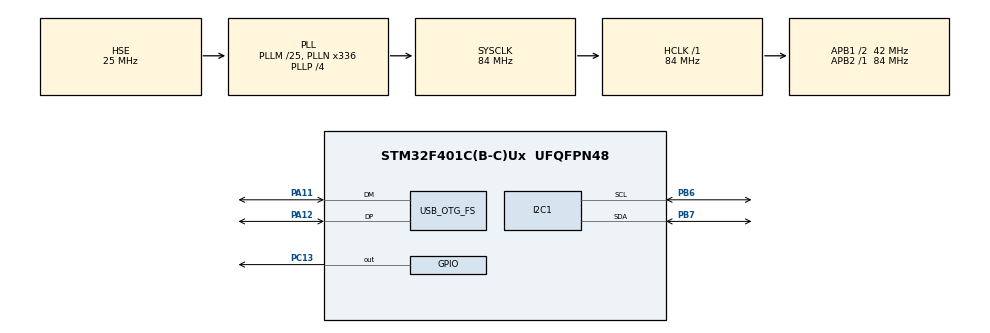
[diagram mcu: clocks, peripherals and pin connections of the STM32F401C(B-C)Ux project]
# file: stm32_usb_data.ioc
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Mcu.Family=STM32F4
Mcu.Name=STM32F401C(B-C)Ux
Mcu.Package=UFQFPN48
NVIC.OTG_FS_IRQn=true\:0\:0\:false\:false\:true\:false\:true\:true
NVIC.PriorityGroup=NVIC_PRIORITYGROUP_4
PA11.Mode=Device_Only
PA11.Signal=USB_OTG_FS_DM
PA12.Mode=Device_Only
PA12.Signal=USB_OTG_FS_DP
PA13.Mode=Serial_Wire
PA13.Signal=SYS_JTMS-SWDIO
PA14.Mode=Serial_Wire
PA14.Signal=SYS_JTCK-SWCLK
PB6.Mode=I2C
PB6.Signal=I2C1_SCL
PB7.Mode=I2C
PB7.Signal=I2C1_SDA
PC13-ANTI_TAMP.Signal=GPIO_Output
PH0\ -\ OSC_IN.Mode=HSE-External-Oscillator
PH0\ -\ OSC_IN.Signal=RCC_OSC_IN
PH1\ -\ OSC_OUT.Mode=HSE-External-Oscillator
PH1\ -\ OSC_OUT.Signal=RCC_OSC_OUT
ProjectManager.HeapSize=0x200
ProjectManager.StackSize=0x400
ProjectManager.TargetToolchain=STM32CubeIDE
RCC.48MHZClocksFreq_Value=48000000
RCC.AHBFreq_Value=84000000
RCC.APB1CLKDivider=RCC_HCLK_DIV2
RCC.APB1Freq_Value=42000000
RCC.APB1TimFreq_Value=84000000
RCC.APB2Freq_Value=84000000
RCC.APB2TimFreq_Value=84000000
RCC.CortexFreq_Value=84000000
RCC.HCLKFreq_Value=84000000
RCC.HSE_VALUE=25000000
RCC.HSI_VALUE=16000000
RCC.LSE_VALUE=32768
RCC.PLLM=25
RCC.PLLN=336
RCC.PLLP=RCC_PLLP_DIV4
RCC.PLLQ=7
RCC.SYSCLKFreq_VALUE=84000000
RCC.SYSCLKSource=RCC_SYSCLKSOURCE_PLLCLK
RCC.VCOOutputFreq_Value=336000000
USB_DEVICE.CLASS_NAME_FS=CDC
USB_DEVICE.VirtualMode=Cdc
USB_DEVICE.VirtualModeFS=Cdc_FS
USB_OTG_FS.VirtualMode=Device_Only
VP_USB_DEVICE_VS_USB_DEVICE_CDC_FS.Mode=CDC_FS
board=custom

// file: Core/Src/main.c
/* USER CODE BEGIN Header */
/**
  ******************************************************************************
  * @file           : main.c
  * @brief          : Main program body
  ******************************************************************************
  * @attention
  *
  * Copyright (c) 2024 STMicroelectronics.
  * All rights reserved.
  *
  * This software is licensed under terms that can be found in the LICENSE file
  * in the root directory of this software component.
  * If no LICENSE file comes with this software, it is provided AS-IS.
  *
  ******************************************************************************
  */
/* USER CODE END Header */
#include "main.h"
#include "usb_device.h"

/* USER CODE BEGIN Includes */

#include "string.h"
#include "usbd_cdc_if.h"

/* USER CODE END Includes */

I2C_HandleTypeDef hi2c1;

void SystemClock_Config(void);
static void MX_GPIO_Init(void);
static void MX_I2C1_Init(void);

/* USER CODE BEGIN 0 */

#define DS3231_ADDRESS 0xD0
#define HMC5883L_WRITE_ADDRESS 0x3C
#define HMC5883L_READ_ADDRESS 0x3D

//predefinded data (structures)
char* data = "TEST2\n\r";
uint8_t buffer[64];
const char* comparestring = "hello";
uint8_t polldata[6];

//conversion functions
uint8_t decToBcd(int val)
{
  return (uint8_t)( (val/10*16) + (val%10) );
}

int bcdToDec(uint8_t val)
{
  return (int)( (val/16*10) + (val%16) );
}

typedef struct {

	uint8_t seconds;
	uint8_t minutes;
	uint8_t hour;
	uint8_t dayofweek;
	uint8_t dayofmonth;
	uint8_t month;
	uint8_t year;
} TIME;

TIME time;

void Set_Time (uint8_t sec, uint8_t min, uint8_t hour, uint8_t dow, uint8_t dom, uint8_t month, uint8_t year)
{
	uint8_t set_time[7];
	set_time[0] = decToBcd(sec);
	set_time[1] = decToBcd(min);
	set_time[2] = decToBcd(hour);
	set_time[3] = decToBcd(dow);
	set_time[4] = decToBcd(dom);
	set_time[5] = decToBcd(month);
	set_time[6] = decToBcd(year);

	HAL_I2C_Mem_Write(&hi2c1, DS3231_ADDRESS, 0x00, 1, set_time, 7, 1000);
}

void Get_Time (void)
{
	uint8_t get_time[7];
	HAL_I2C_Mem_Read(&hi2c1, DS3231_ADDRESS, 0x00, 1, get_time, 7, 1000);
	time.seconds = bcdToDec(get_time[0]);
	time.minutes = bcdToDec(get_time[1]);
	time.hour = bcdToDec(get_time[2]);
	time.dayofweek = bcdToDec(get_time[3]);
	time.dayofmonth = bcdToDec(get_time[4]);
	time.month = bcdToDec(get_time[5]);
	time.year = bcdToDec(get_time[6]);
}

void HMC588L_init (void)
{
	//data to be put into registers
	uint8_t CRA_data = 0x70;
	uint8_t CRB_data = 0xA0;
	uint8_t MR_data = 0x00;

	//args: pointer to handle, device address, register address, sizeof register, pointer to data, number of bytes to write, timeoutvariable
	HAL_I2C_Mem_Write(&hi2c1, HMC5883L_WRITE_ADDRESS, 0x00, 1, &CRA_data, 1, 1000);
	HAL_I2C_Mem_Write(&hi2c1, HMC5883L_WRITE_ADDRESS, 0x01, 1, &CRB_data, 1, 1000);
	HAL_I2C_Mem_Write(&hi2c1, HMC5883L_WRITE_ADDRESS, 0x02, 1, &MR_data, 1, 1000);
	HAL_Delay(100);

}

void HMC588L_poll (void)
{
	uint8_t polldata[6];

	//only poll X, Y
	HAL_I2C_Mem_Read(&hi2c1, HMC5883L_READ_ADDRESS, 0x00, 1, polldata, 6, 1000);

	char datastring[20];
	sprintf(datastring, "%02X %02X %02X %02X %02X %02X\n", polldata[0], polldata[1], polldata[2], polldata[3], polldata[4], polldata[5]);
	CDC_Transmit_FS((uint8_t *)datastring, strlen(datastring));

}

/* USER CODE END 0 */

int main(void)
{

  /* MCU Configuration--------------------------------------------------------*/

  /* Reset of all peripherals, Initializes the Flash interface and the Systick. */
  HAL_Init();

  /* Configure the system clock */
  SystemClock_Config();

  /* Initialize all configured peripherals */
  MX_GPIO_Init();
  MX_USB_DEVICE_Init();
  MX_I2C1_Init();
  /* USER CODE BEGIN 2 */

  HMC588L_init();

  /* USER CODE END 2 */

  /* Infinite loop */
  /* USER CODE BEGIN WHILE */
  HMC588L_init();
  while (1)
  {
    /* USER CODE END WHILE */

    /* USER CODE BEGIN 3 */

	  //check for incoming usb serial data
	  HAL_Delay(100);

	  if(strcmp((char*)buffer, comparestring)==0){
		  CDC_Transmit_FS((uint8_t *) data, strlen(data));
	  }

	  //poll time from ds3231
	  Get_Time();
	  char time_string[20];
	  sprintf(time_string, "%02d:%02d:%02d\n", time.hour, time.minutes, time.seconds);
	  //CDC_Transmit_FS((uint8_t *) time_string, strlen(time_string));

	  //poll raw value from ds3231
	  uint8_t readtest;
	  HAL_I2C_Mem_Read(&hi2c1, DS3231_ADDRESS, 0x00, 1, &readtest, 1, 1000);
	  char datastring[20];
	  sprintf(datastring, "%u\n", readtest);
	  //CDC_Transmit_FS((uint8_t *) datastring, strlen(datastring));

	  //poll from gyro
	  HMC588L_poll ();

  }
  /* USER CODE END 3 */
}

void SystemClock_Config(void)
{
  RCC_OscInitTypeDef RCC_OscInitStruct = {0};
  RCC_ClkInitTypeDef RCC_ClkInitStruct = {0};

  /** Configure the main internal regulator output voltage
  */
  __HAL_RCC_PWR_CLK_ENABLE();
  __HAL_PWR_VOLTAGESCALING_CONFIG(PWR_REGULATOR_VOLTAGE_SCALE2);

  /** Initializes the RCC Oscillators according to the specified parameters
  * in the RCC_OscInitTypeDef structure.
  */
  RCC_OscInitStruct.OscillatorType = RCC_OSCILLATORTYPE_HSE;
  RCC_OscInitStruct.HSEState = RCC_HSE_ON;
  RCC_OscInitStruct.PLL.PLLState = RCC_PLL_ON;
  RCC_OscInitStruct.PLL.PLLSource = RCC_PLLSOURCE_HSE;
  RCC_OscInitStruct.PLL.PLLM = 25;
  RCC_OscInitStruct.PLL.PLLN = 336;
  RCC_OscInitStruct.PLL.PLLP = RCC_PLLP_DIV4;
  RCC_OscInitStruct.PLL.PLLQ = 7;
  if (HAL_RCC_OscConfig(&RCC_OscInitStruct) != HAL_OK)
  {
    Error_Handler();
  }

  /** Initializes the CPU, AHB and APB buses clocks
  */
  RCC_ClkInitStruct.ClockType = RCC_CLOCKTYPE_HCLK|RCC_CLOCKTYPE_SYSCLK
                              |RCC_CLOCKTYPE_PCLK1|RCC_CLOCKTYPE_PCLK2;
  RCC_ClkInitStruct.SYSCLKSource = RCC_SYSCLKSOURCE_PLLCLK;
  RCC_ClkInitStruct.AHBCLKDivider = RCC_SYSCLK_DIV1;
  RCC_ClkInitStruct.APB1CLKDivider = RCC_HCLK_DIV2;
  RCC_ClkInitStruct.APB2CLKDivider = RCC_HCLK_DIV1;

  if (HAL_RCC_ClockConfig(&RCC_ClkInitStruct, FLASH_LATENCY_2) != HAL_OK)
  {
    Error_Handler();
  }
}

static void MX_I2C1_Init(void)
{

  hi2c1.Instance = I2C1;
  hi2c1.Init.ClockSpeed = 100000;
  hi2c1.Init.DutyCycle = I2C_DUTYCYCLE_2;
  hi2c1.Init.OwnAddress1 = 0;
  hi2c1.Init.AddressingMode = I2C_ADDRESSINGMODE_7BIT;
  hi2c1.Init.DualAddressMode = I2C_DUALADDRESS_DISABLE;
  hi2c1.Init.OwnAddress2 = 0;
  hi2c1.Init.GeneralCallMode = I2C_GENERALCALL_DISABLE;
  hi2c1.Init.NoStretchMode = I2C_NOSTRETCH_DISABLE;
  if (HAL_I2C_Init(&hi2c1) != HAL_OK)
  {
    Error_Handler();
  }

}

static void MX_GPIO_Init(void)
{
  GPIO_InitTypeDef GPIO_InitStruct = {0};

  /* GPIO Ports Clock Enable */
  __HAL_RCC_GPIOC_CLK_ENABLE();
  __HAL_RCC_GPIOH_CLK_ENABLE();
  __HAL_RCC_GPIOA_CLK_ENABLE();
  __HAL_RCC_GPIOB_CLK_ENABLE();

  /*Configure GPIO pin Output Level */
  HAL_GPIO_WritePin(GPIOC, GPIO_PIN_13, GPIO_PIN_RESET);

  /*Configure GPIO pin : PC13 */
  GPIO_InitStruct.Pin = GPIO_PIN_13;
  GPIO_InitStruct.Mode = GPIO_MODE_OUTPUT_PP;
  GPIO_InitStruct.Pull = GPIO_NOPULL;
  GPIO_InitStruct.Speed = GPIO_SPEED_FREQ_LOW;
  HAL_GPIO_Init(GPIOC, &GPIO_InitStruct);

}

void Error_Handler(void)
{
  __disable_irq();
  while (1)
  {
  }
}
